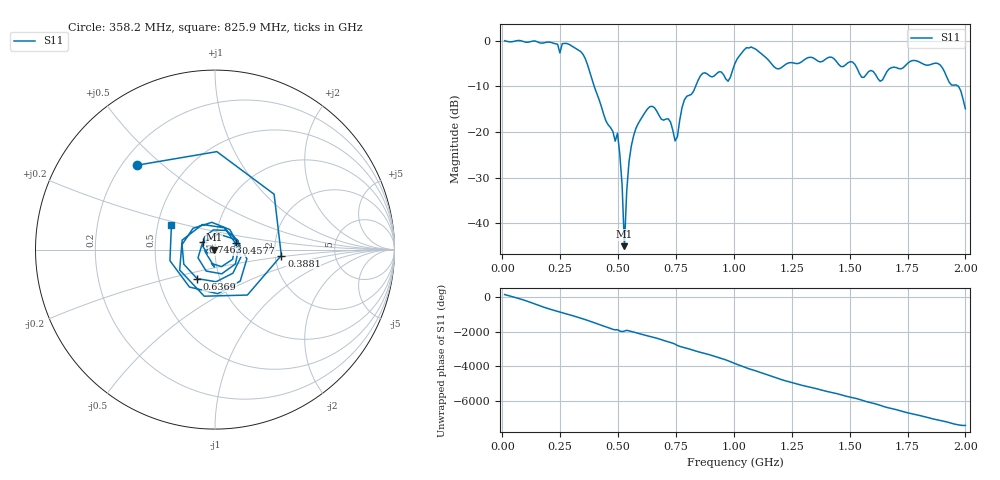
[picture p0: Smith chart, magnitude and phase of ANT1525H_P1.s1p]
!Created with skrf (http://scikit-rf.org).
# Hz S RI R 50.0
!freq ReS11 ImS11
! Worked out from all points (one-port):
!   201 points, 10 MHz to 2 GHz, reference 50 ohm
!   lowest |S11| = -45.0 dB at 527.4 MHz (marker M1), VSWR 1.01, Z = 49.4 - j0.0614 ohm
!   |S11| at or under -10 dB: 397.1 MHz to 834.7 MHz (437.6 MHz wide, 71.1 % of centre); 1.97 GHz to end of sweep
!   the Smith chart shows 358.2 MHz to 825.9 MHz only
!   S11 on the Smith chart (normalised r, x): 358.2 MHz: 0.26, +0.41; 388.1 MHz: 2.16, -0.17; 457.8 MHz: 1.26, +0.09; 636.9 MHz: 0.78, -0.26; 746.3 MHz: 0.87, +0.07; 825.9 MHz: 0.59, +0.18
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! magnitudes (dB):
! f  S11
! 10 MHz  0.0
! 258.8 MHz  -0.7
! 358.2 MHz  -3.9
! 388.1 MHz  -8.6
! 457.8 MHz  -18.4
! 497.6 MHz  -20.2
! 507.5 MHz  -24.8
! 517.5 MHz  -31.6
! 527.4 MHz  -45.0
! 537.4 MHz  -32.9
! 557.2 MHz  -23.0
! 636.9 MHz  -14.4
! 716.5 MHz  -17.1
! 746.3 MHz  -21.9
! 756.2 MHz  -21.0
! 786.1 MHz  -13.0
! 825.9 MHz  -11.1
! 865.7 MHz  -7.1
! 975.1 MHz  -8.9
! 1.005 GHz  -4.9
! 1.075 GHz  -1.4
! 1.184 GHz  -6.1
! 1.254 GHz  -4.8
! 1.502 GHz  -4.6
! 1.632 GHz  -8.9
! 1.751 GHz  -4.9
! 1.891 GHz  -5.3
! 2 GHz  -14.9
